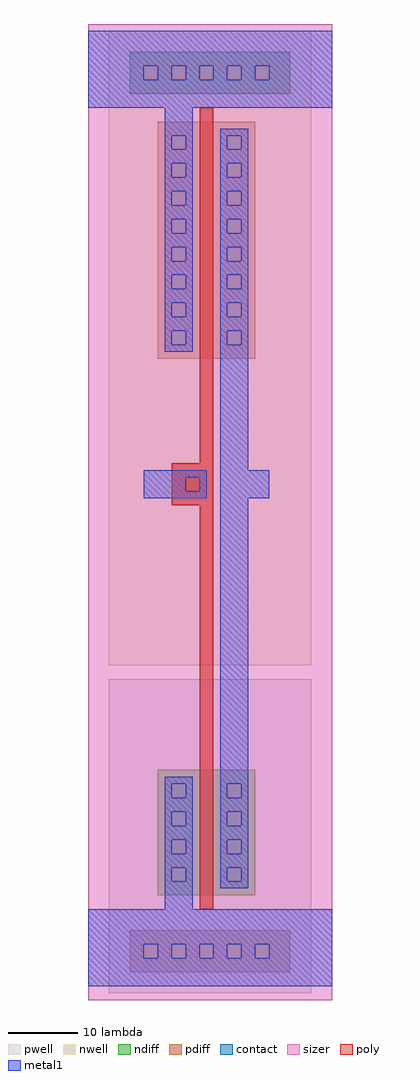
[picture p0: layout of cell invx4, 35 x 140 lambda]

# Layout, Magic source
magic
tech concept
<< sizer >>
rect 0 0 35 140
<< metal1 >>
rect 0 134 35 139
rect 0 132 8 134
rect 10 132 12 134
rect 14 132 16 134
rect 18 132 20 134
rect 22 132 24 134
rect 26 132 35 134
rect 0 128 35 132
rect 11 124 15 128
rect 19 124 23 125
rect 11 122 12 124
rect 14 122 15 124
rect 19 122 20 124
rect 22 122 23 124
rect 11 120 15 122
rect 19 120 23 122
rect 11 118 12 120
rect 14 118 15 120
rect 19 118 20 120
rect 22 118 23 120
rect 11 116 15 118
rect 19 116 23 118
rect 11 114 12 116
rect 14 114 15 116
rect 19 114 20 116
rect 22 114 23 116
rect 11 112 15 114
rect 19 112 23 114
rect 11 110 12 112
rect 14 110 15 112
rect 19 110 20 112
rect 22 110 23 112
rect 11 108 15 110
rect 19 108 23 110
rect 11 106 12 108
rect 14 106 15 108
rect 19 106 20 108
rect 22 106 23 108
rect 11 104 15 106
rect 19 104 23 106
rect 11 102 12 104
rect 14 102 15 104
rect 19 102 20 104
rect 22 102 23 104
rect 11 100 15 102
rect 19 100 23 102
rect 11 98 12 100
rect 14 98 15 100
rect 19 98 20 100
rect 22 98 23 100
rect 11 96 15 98
rect 19 96 23 98
rect 11 94 12 96
rect 14 94 15 96
rect 19 94 20 96
rect 22 94 23 96
rect 11 93 15 94
rect 19 76 23 94
rect 8 75 17 76
rect 19 72 26 76
rect 8 73 14 75
rect 16 73 17 75
rect 8 72 17 73
rect 19 31 23 72
rect 11 31 15 32
rect 11 29 12 31
rect 14 29 15 31
rect 19 29 20 31
rect 22 29 23 31
rect 11 27 15 29
rect 19 27 23 29
rect 11 25 12 27
rect 14 25 15 27
rect 19 25 20 27
rect 22 25 23 27
rect 11 23 15 25
rect 19 23 23 25
rect 11 21 12 23
rect 14 21 15 23
rect 19 21 20 23
rect 22 21 23 23
rect 11 19 15 21
rect 19 19 23 21
rect 11 17 12 19
rect 14 17 15 19
rect 19 17 20 19
rect 22 17 23 19
rect 11 13 15 17
rect 19 16 23 17
rect 0 8 35 13
rect 0 6 8 8
rect 10 6 12 8
rect 14 6 16 8
rect 18 6 20 8
rect 22 6 24 8
rect 26 6 35 8
rect 0 2 35 6
<< contact >>
rect 8 132 10 134
rect 12 132 14 134
rect 16 132 18 134
rect 20 132 22 134
rect 24 132 26 134
rect 12 122 14 124
rect 20 122 22 124
rect 12 118 14 120
rect 20 118 22 120
rect 12 114 14 116
rect 20 114 22 116
rect 12 110 14 112
rect 20 110 22 112
rect 12 106 14 108
rect 20 106 22 108
rect 12 102 14 104
rect 20 102 22 104
rect 12 98 14 100
rect 20 98 22 100
rect 12 94 14 96
rect 20 94 22 96
rect 14 73 16 75
rect 12 29 14 31
rect 20 29 22 31
rect 12 25 14 27
rect 20 25 22 27
rect 12 21 14 23
rect 20 21 22 23
rect 12 17 14 19
rect 20 17 22 19
rect 8 6 10 8
rect 12 6 14 8
rect 16 6 18 8
rect 20 6 22 8
rect 24 6 26 8
<< poly >>
rect 16 77 18 128
rect 12 71 18 77
rect 16 13 18 71
<< ndiff >>
rect 6 130 29 136
rect 10 15 24 33
<< pdiff >>
rect 10 92 24 126
rect 6 4 29 10
<< nwell >>
rect 3 48 32 139
<< pwell >>
rect 3 1 32 46
<< end >>
